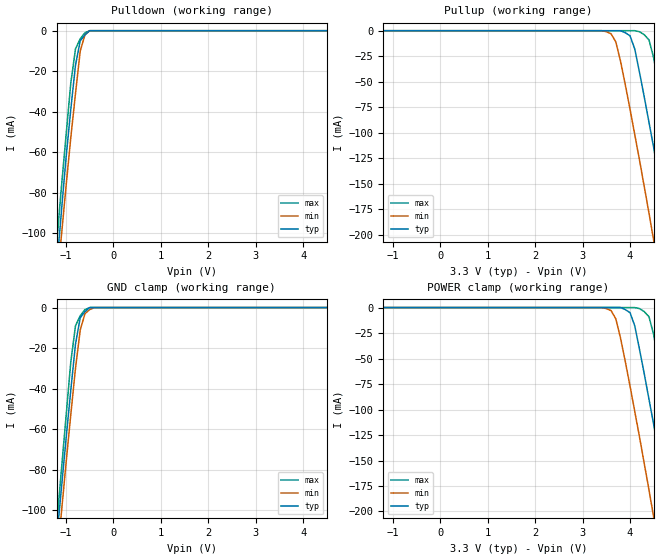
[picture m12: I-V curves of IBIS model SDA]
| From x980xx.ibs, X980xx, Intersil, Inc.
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|   SDA MODEL
[Model]   SDA
Model_type   I/O
Vinl = 0.8Vc
Vinh = 2.5V
C_comp   3.478pF  3.35pF   3.61pF
|   typ   min   max
[Voltage Range]   3.3   3   3.6
[Temperature Range]  25   85   -40
[Ramp]
| DIGOUT simulated   with 500ps   20-80% risetime   signal input to buffer
| simulated with   500 ohm resistor
| c_comp included   in simulation   (c_comp=3pf)
|   (typ)   (min)   (max)
dV/dt_r   1.980/56.000n   1.800/127.000n   2.160/61.000n
dV/dt_f   1.980/1.380n   1.800/1.670n   2.160/1.107n
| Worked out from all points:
|   GND clamp passes 1 mA (typ) near -0.55 V on its own axis
[Pulldown]
|V   I(typ)   I(min)   I(max)
-3.3V     -1.17A     -951mA     -866mA
-1.2V     -118mA     -128mA     -106mA
-1.1V     -90mA      -102mA     -78mA
-1V       -63mA      -77mA      -52mA
-900mV    -39mA      -53mA      -26mA
-800mV    -17mA      -31mA      -9mA
-700mV    -5mA       -10mA      -4mA
-600mV    -2mA       -2mA       -1mA
-500mV    0A         0A         0A
6.6V      0A         0A         0A
[Pullup]
|V   I(typ)   I(min)   I(max)
-3.3V     0A         0A         0A
3.5V      0A         -1mA       0A
3.7V      0A         -11mA      0A
4V        -5mA       -77mA      0A
4.1V      -18mA      -102mA     0A
4.2V      -41mA      -127mA     -1mA
4.4V      -90mA      -179mA     -9mA
4.5V      -115mA     -206mA     -27mA
4.8V      -197mA     -290mA     -108mA
5.1V      -286mA     -380mA     -195mA
5.2V      -317mA     -411mA     -225mA
6.6V      -838mA     -909mA     -710mA
[GND_Clamp]
|V   I(typ)   I(min)   I(max)
-3.3V     -838mA     -793mA     -829mA
-1.2V     -115mA     -127mA     -108mA
-1.1V     -90mA      -102mA     -81mA
-1V       -65mA      -77mA      -54mA
-900mV    -41mA      -53mA      -27mA
-800mV    -18mA      -30mA      -9mA
-700mV    -5mA       -11mA      -4mA
-600mV    -2mA       -3mA       -1mA
-500mV    0A         -1mA       0A
-400mV    0A         0A         0A
6.6V      0A         0A         0A
[Power_Clamp]
|V   I(typ)   I(min)   I(max)
-3.3V     0A         0A         0A
3.5V      0A         -1mA       0A
3.7V      0A         -11mA      0A
4V        -5mA       -77mA      0A
4.1V      -18mA      -102mA     0A
4.2V      -41mA      -127mA     -1mA
4.4V      -90mA      -179mA     -9mA
4.5V      -115mA     -206mA     -27mA
4.8V      -197mA     -290mA     -108mA
5.1V      -286mA     -380mA     -195mA
5.2V      -317mA     -411mA     -225mA
6.6V      -838mA     -909mA     -710mA
